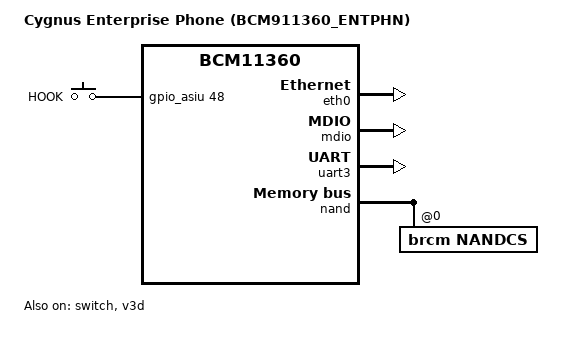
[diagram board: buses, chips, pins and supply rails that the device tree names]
/*
 *  BSD LICENSE
 *
 *  Copyright(c) 2014 Broadcom Corporation.  All rights reserved.
 *
 *  Redistribution and use in source and binary forms, with or without
 *  modification, are permitted provided that the following conditions
 *  are met:
 *
 *    * Redistributions of source code must retain the above copyright
 *      notice, this list of conditions and the following disclaimer.
 *    * Redistributions in binary form must reproduce the above copyright
 *      notice, this list of conditions and the following disclaimer in
 *      the documentation and/or other materials provided with the
 *      distribution.
 *    * Neither the name of Broadcom Corporation nor the names of its
 *      contributors may be used to endorse or promote products derived
 *      from this software without specific prior written permission.
 *
 *  THIS SOFTWARE IS PROVIDED BY THE COPYRIGHT HOLDERS AND CONTRIBUTORS
 *  "AS IS" AND ANY EXPRESS OR IMPLIED WARRANTIES, INCLUDING, BUT NOT
 *  LIMITED TO, THE IMPLIED WARRANTIES OF MERCHANTABILITY AND FITNESS FOR
 *  A PARTICULAR PURPOSE ARE DISCLAIMED. IN NO EVENT SHALL THE COPYRIGHT
 *  OWNER OR CONTRIBUTORS BE LIABLE FOR ANY DIRECT, INDIRECT, INCIDENTAL,
 *  SPECIAL, EXEMPLARY, OR CONSEQUENTIAL DAMAGES (INCLUDING, BUT NOT
 *  LIMITED TO, PROCUREMENT OF SUBSTITUTE GOODS OR SERVICES; LOSS OF USE,
 *  DATA, OR PROFITS; OR BUSINESS INTERRUPTION) HOWEVER CAUSED AND ON ANY
 *  THEORY OF LIABILITY, WHETHER IN CONTRACT, STRICT LIABILITY, OR TORT
 *  (INCLUDING NEGLIGENCE OR OTHERWISE) ARISING IN ANY WAY OUT OF THE USE
 * OF THIS SOFTWARE, EVEN IF ADVISED OF THE POSSIBILITY OF SUCH DAMAGE.
 */

/dts-v1/;

#include "bcm-cygnus.dtsi"
#include "dt-bindings/input/input.h"

/ {
	model = "Cygnus Enterprise Phone (BCM911360_ENTPHN)";
	compatible = "brcm,bcm11360", "brcm,cygnus";

	chosen {
		stdout-path = &uart3;
		bootargs = "console=ttyS0,115200";
	};

	gpio_keys {
		compatible = "gpio-keys";
		#address-cells = <1>;
		#size-cells = <0>;

		hook {
			label = "HOOK";
			linux,code = <KEY_O>;
			gpios = <&gpio_asiu 48 0>;
		};
	};
};

&eth0 {
	status = "okay";
};

&mdio {
	status = "okay";
};

&switch {
	status = "okay";
};

&v3d {
	assigned-clocks =
		<&mipipll BCM_CYGNUS_MIPIPLL>,
		<&mipipll BCM_CYGNUS_MIPIPLL_CH2_V3D>;
	assigned-clock-rates = <525000000>, <300000000>;
	status = "okay";
};

&uart3 {
	status = "okay";
};

&nand {
	nandcs@1 {
		compatible = "brcm,nandcs";
		reg = <0>;
		nand-on-flash-bbt;

		#address-cells = <1>;
		#size-cells = <1>;

		nand-ecc-strength = <24>;
		nand-ecc-step-size = <1024>;

		brcm,nand-oob-sector-size = <27>;
	};
};
